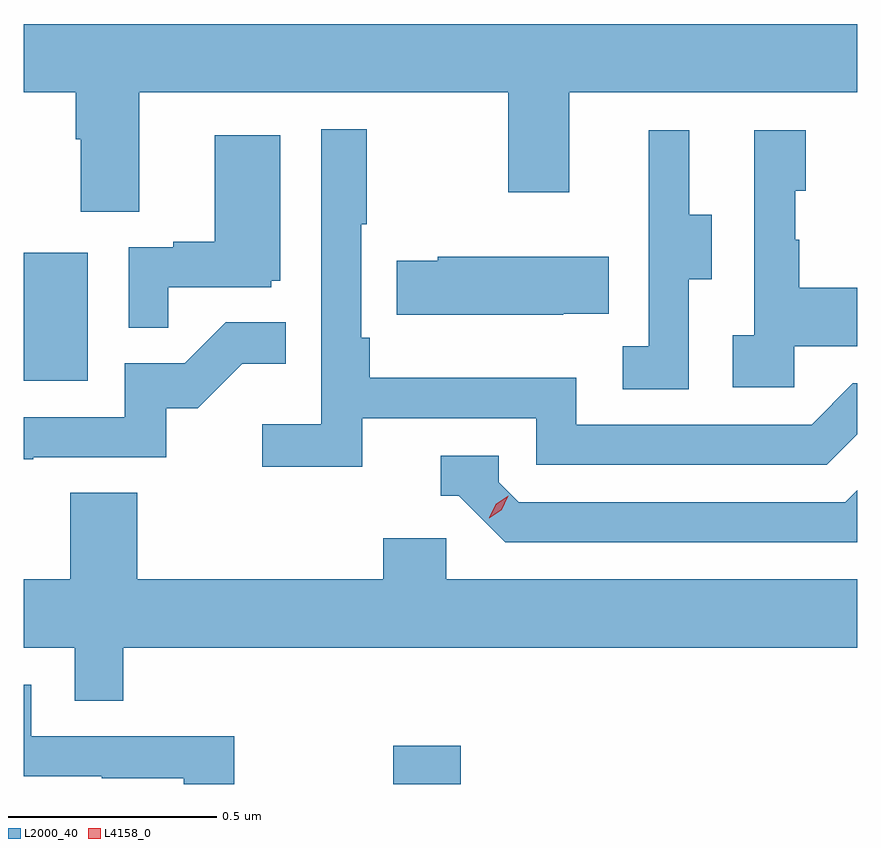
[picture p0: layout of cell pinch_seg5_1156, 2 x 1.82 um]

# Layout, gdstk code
import gdstk
lib = gdstk.Library(unit=1e-6, precision=1e-09)
def R(c, l, rs):  # rectangles x0, y0, x1, y1
    for r in rs: c.add(gdstk.rectangle(r[:2], r[2:], *l))
def P(c, l, *ps):  # polygons
    for p in ps: c.add(gdstk.Polygon(p, *l))
L2000_40 = (2000, 40)
L4158_0 = (4158, 0)

pinch_seg5_1156 = lib.new_cell('pinch_seg5_1156')
R(pinch_seg5_1156, L2000_40, [(816.455,844.445,816.616,844.537), (815.568,845.412,815.722,845.719)])
P(pinch_seg5_1156, L2000_40, [(815.845,846.104),(816.73,846.104),(816.73,845.865),(816.877,845.865),(816.877,846.104),(817.568,846.104),(817.568,846.268),(815.568,846.268),(815.568,846.104),(815.693,846.104),(815.693,845.992),(815.705,845.992),(815.705,845.818),(815.845,845.818)],
  [(816.38,845.322),(816.798,845.322),(816.798,845.211),(817.495,845.211),(817.568,845.284),(817.568,845.406),(817.557,845.406),(817.458,845.307),(816.894,845.307),(816.894,845.419),(816.398,845.419),(816.398,845.515),(816.378,845.515),(816.378,845.788),(816.391,845.788),(816.391,846.016),(816.282,846.016),(816.282,845.308),(816.141,845.308),(816.141,845.206),(816.38,845.206)],
  [(817.416,845.495),(817.568,845.495),(817.568,845.635),(817.429,845.635),(817.429,845.75),(817.419,845.75),(817.419,845.868),(817.444,845.868),(817.444,846.013),(817.32,846.013),(817.32,845.522),(817.269,845.522),(817.269,845.397),(817.416,845.397)],
  [(817.164,845.656),(817.219,845.656),(817.219,845.811),(817.165,845.811),(817.165,846.013),(817.067,846.013),(817.067,845.799),(817.068,845.799),(817.068,845.495),(817.005,845.495),(817.005,845.392),(817.164,845.392)],
  [(815.915,845.637),(816.162,845.637),(816.162,845.652),(816.184,845.652),(816.184,846.001),(816.026,846.001),(816.026,845.746),(815.927,845.746),(815.927,845.733),(815.82,845.733),(815.82,845.539),(815.915,845.539)],
  [(816.863,845.573),(816.971,845.573),(816.971,845.71),(816.561,845.71),(816.561,845.7),(816.463,845.7),(816.463,845.57),(816.863,845.57)],
  [(815.591,845.229),(815.91,845.229),(815.91,845.346),(815.986,845.346),(816.093,845.453),(816.197,845.453),(816.197,845.552),(816.053,845.552),(815.955,845.454),(815.811,845.454),(815.811,845.325),(815.568,845.325),(815.568,845.224),(815.591,845.224)],
  [(817.568,845.15),(817.539,845.121),(816.756,845.121),(816.708,845.169),(816.708,845.232),(816.569,845.232),(816.569,845.136),(816.612,845.136),(816.723,845.025),(817.568,845.025)],
  [(815.807,844.772),(817.568,844.772),(817.568,844.936),(816.582,844.936),(816.582,845.034),(816.431,845.034),(816.431,844.936),(815.84,844.936),(815.84,845.144),(815.68,845.144),(815.68,844.936),(815.568,844.936),(815.568,844.772),(815.691,844.772),(815.691,844.645),(815.807,844.645)],
  [(816.073,844.56),(815.586,844.56),(815.586,844.683),(815.568,844.683),(815.568,844.464),(815.755,844.464),(815.755,844.459),(815.952,844.459),(815.952,844.445),(816.073,844.445)])
P(pinch_seg5_1156, L4158_0, [(816.685,845.083),(816.685,845.084),(816.7,845.116),(816.731,845.136),(816.731,845.136),(816.731,845.136),(816.715,845.103),(816.685,845.083)])

lib.write_gds('pinch_seg5_1156.gds')
